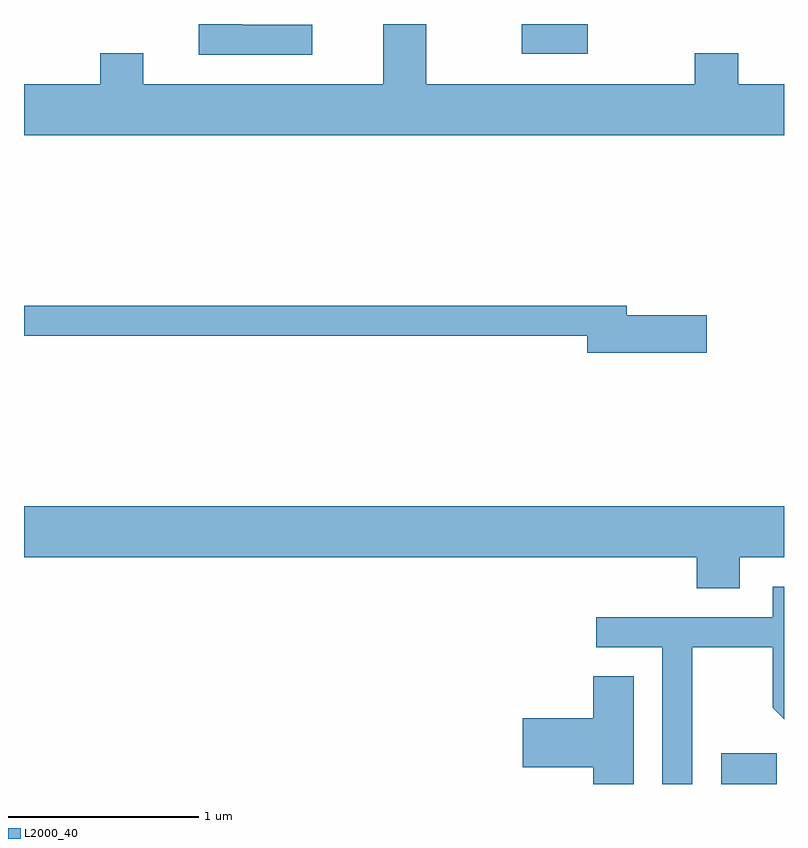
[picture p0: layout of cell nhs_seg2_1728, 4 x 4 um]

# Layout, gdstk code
import gdstk
lib = gdstk.Library(unit=1e-6, precision=1e-09)
def R(c, l, rs):  # rectangles x0, y0, x1, y1
    for r in rs: c.add(gdstk.rectangle(r[:2], r[2:], *l))
def P(c, l, *ps):  # polygons
    for p in ps: c.add(gdstk.Polygon(p, *l))
L2000_40 = (2000, 40)

nhs_seg2_1728 = lib.new_cell('nhs_seg2_1728')
R(nhs_seg2_1728, L2000_40, [(239.281,1033.802,239.574,1033.964), (238.231,1037.646,238.578,1037.802)])
P(nhs_seg2_1728, L2000_40, [(239.611,1037.484),(239.369,1037.484),(239.369,1037.649),(239.141,1037.649),(239.141,1037.484),(237.729,1037.484),(237.729,1037.802),(237.501,1037.802),(237.501,1037.484),(236.239,1037.484),(236.239,1037.649),(236.011,1037.649),(236.011,1037.484),(235.611,1037.484),(235.611,1037.216),(239.611,1037.216)],
  [(237.128,1037.799),(236.759,1037.799),(236.759,1037.802),(235.611,1037.802),(235.611,1037.801),(236.531,1037.801),(236.531,1037.641),(237.128,1037.641)],
  [(239.204,1036.269),(238.784,1036.269),(238.784,1036.319),(235.611,1036.319),(235.611,1036.161),(238.576,1036.161),(238.576,1036.071),(239.204,1036.071)],
  [(239.379,1034.996),(239.611,1034.996),(239.611,1035.264),(235.611,1035.264),(235.611,1034.996),(239.151,1034.996),(239.151,1034.831),(239.379,1034.831)],
  [(239.129,1034.521),(239.551,1034.521),(239.551,1034.204),(239.611,1034.144),(239.611,1034.839),(239.551,1034.839),(239.551,1034.679),(238.623,1034.679),(238.623,1034.521),(238.971,1034.521),(238.971,1033.802),(239.129,1033.802)],
  [(238.819,1034.369),(238.606,1034.369),(238.606,1034.149),(238.236,1034.149),(238.236,1033.891),(238.606,1033.891),(238.606,1033.802),(238.819,1033.802)])

lib.write_gds('nhs_seg2_1728.gds')
